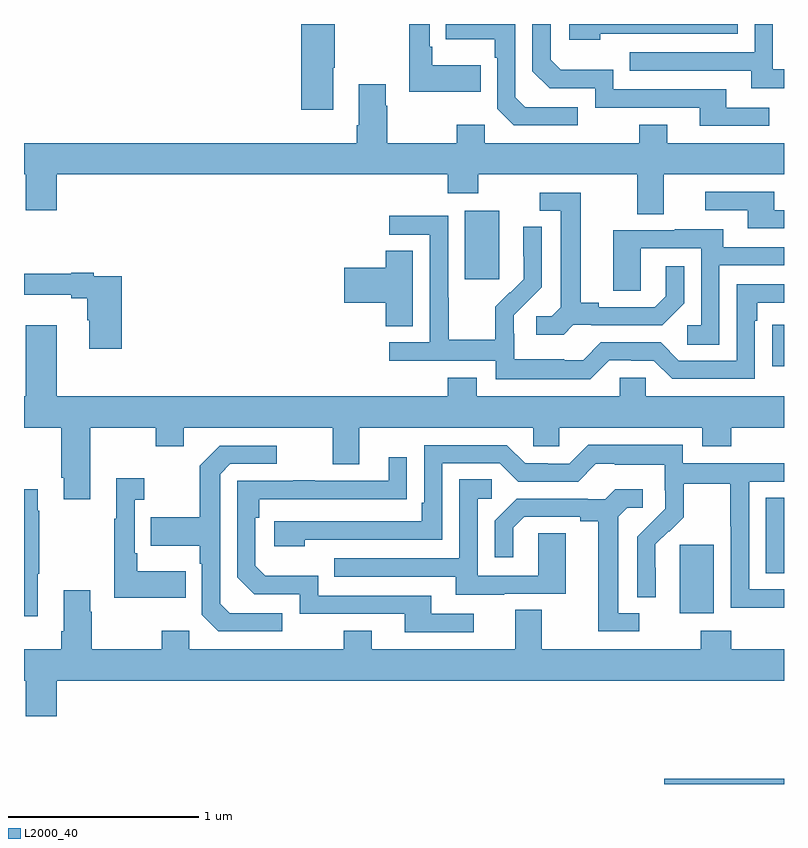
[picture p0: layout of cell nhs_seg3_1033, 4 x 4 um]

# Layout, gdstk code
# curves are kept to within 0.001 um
import gdstk
lib = gdstk.Library(unit=1e-6, precision=1e-09)
def R(c, l, rs):  # rectangles x0, y0, x1, y1
    for r in rs: c.add(gdstk.rectangle(r[:2], r[2:], *l))
def P(c, l, *ps):  # polygons
    for p in ps: c.add(gdstk.Polygon(p, *l))
L2000_40 = (2000, 40)

nhs_seg3_1033 = lib.new_cell('nhs_seg3_1033')
R(nhs_seg3_1033, L2000_40, [(168.371,672.4,169,672.428), (168.452,673.298,168.631,673.659), (168.905,673.51,169,673.907), (168.937,674.598,169,674.816), (167.321,675.057,167.5,675.418)])
P(nhs_seg3_1033, L2000_40, [(166.627,676.171),(166.635,676.171),(166.635,676.4),(166.46,676.4),(166.46,675.948),(166.627,675.948)],
  [(169,676.161),(168.942,676.161),(168.942,676.4),(168.846,676.4),(168.846,676.251),(168.187,676.251),(168.187,676.155),(168.827,676.155),(168.827,676.061),(169,676.061)],
  [(167.405,676.183),(167.149,676.183),(167.149,676.279),(167.136,676.279),(167.136,676.4),(167.028,676.4),(167.028,676.043),(167.405,676.043)],
  [(168.922,675.96),(168.697,675.96),(168.697,676.056),(168.102,676.056),(168.102,676.159),(167.825,676.159),(167.772,676.212),(167.772,676.4),(167.676,676.4),(167.676,676.152),(167.766,676.062),(168.006,676.062),(168.006,675.96),(168.557,675.96),(168.557,675.864),(168.922,675.864)],
  [(167.914,675.963),(167.637,675.963),(167.586,676.014),(167.586,676.4),(167.221,676.4),(167.221,676.319),(167.478,676.319),(167.478,676.223),(167.49,676.223),(167.49,675.954),(167.577,675.867),(167.914,675.867)],
  [(168.032,676.35),(168.756,676.35),(168.756,676.4),(167.871,676.4),(167.871,676.316),(168.032,676.316)],
  [(168.367,675.608),(169,675.608),(169,675.772),(168.385,675.772),(168.385,675.871),(168.238,675.871),(168.238,675.772),(167.424,675.772),(167.424,675.871),(167.278,675.871),(167.278,675.772),(166.911,675.772),(166.911,675.971),(166.903,675.971),(166.903,676.084),(166.763,676.084),(166.763,675.868),(166.751,675.868),(166.751,675.772),(165,675.772),(165,675.608),(165.008,675.608),(165.008,675.42),(165.172,675.42),(165.172,675.608),(167.231,675.608),(167.231,675.509),(167.391,675.509),(167.391,675.608),(168.227,675.608),(168.227,675.4),(168.367,675.4)],
  [(169,675.42),(168.949,675.42),(168.949,675.516),(168.585,675.516),(168.585,675.42),(168.809,675.42),(168.809,675.324),(169,675.324)],
  [(167.892,674.817),(167.986,674.817),(167.986,674.814),(168.358,674.814),(168.474,674.93),(168.474,675.124),(168.377,675.124),(168.377,674.967),(168.32,674.91),(168.025,674.91),(168.025,674.933),(167.929,674.933),(167.929,675.513),(167.715,675.513),(167.715,675.417),(167.825,675.417),(167.825,674.909),(167.778,674.862),(167.697,674.862),(167.697,674.765),(167.84,674.765)],
  [(168.081,674.631),(168.197,674.631),(168.197,674.628),(168.315,674.628),(168.411,674.532),(168.846,674.532),(168.846,674.837),(168.859,674.837),(168.859,674.934),(169,674.934),(169,675.03),(168.75,675.03),(168.75,674.628),(168.447,674.628),(168.351,674.724),(168.036,674.724),(167.943,674.631),(167.843,674.631),(167.843,674.635),(167.58,674.635),(167.58,674.769),(167.578,674.769),(167.578,674.866),(167.724,675.014),(167.724,675.332),(167.628,675.332),(167.628,675.178),(167.63,675.178),(167.63,675.056),(167.559,674.985),(167.556,674.988),(167.479,674.911),(167.479,674.737),(167.235,674.737),(167.235,674.96),(167.232,674.96),(167.232,675.39),(166.923,675.39),(166.923,675.291),(167.136,675.291),(167.136,674.724),(166.923,674.724),(166.923,674.628),(167.484,674.628),(167.484,674.531),(167.981,674.531)],
  [(168.66,675.129),(169,675.129),(169,675.225),(168.679,675.225),(168.679,675.319),(168.425,675.319),(168.425,675.315),(168.101,675.315),(168.101,674.995),(168.246,674.995),(168.246,675.219),(168.564,675.219),(168.564,674.814),(168.492,674.814),(168.492,674.713),(168.66,674.713)],
  [(167.047,675.206),(166.904,675.206),(166.904,675.116),(166.686,675.116),(166.686,674.933),(166.904,674.933),(166.904,674.809),(167.047,674.809)],
  [(165.515,675.072),(165.368,675.072),(165.368,675.092),(165.248,675.092),(165.248,675.085),(165,675.085),(165,674.975),(165.248,674.975),(165.248,674.956),(165.332,674.956),(165.332,674.841),(165.344,674.841),(165.344,674.691),(165.515,674.691)],
  [(165.349,674.276),(165.694,674.276),(165.694,674.177),(165.841,674.177),(165.841,674.276),(166.625,674.276),(166.625,674.082),(166.765,674.082),(166.765,674.276),(167.679,674.276),(167.679,674.178),(167.817,674.178),(167.817,674.276),(168.569,674.276),(168.569,674.177),(168.722,674.177),(168.722,674.276),(169,674.276),(169,674.44),(168.273,674.44),(168.273,674.538),(168.135,674.538),(168.135,674.44),(167.383,674.44),(167.383,674.539),(167.231,674.539),(167.231,674.44),(165.172,674.44),(165.172,674.815),(165.008,674.815),(165.008,674.44),(165,674.44),(165,674.276),(165.197,674.276),(165.197,674.011),(165.209,674.011),(165.209,673.899),(165.349,673.899)],
  [(169,673.425),(168.816,673.425),(168.816,673.992),(169,673.992),(169,674.088),(168.468,674.088),(168.468,674.185),(167.971,674.185),(167.871,674.085),(167.756,674.085),(167.756,674.088),(167.637,674.088),(167.541,674.184),(167.106,674.184),(167.106,673.879),(167.093,673.879),(167.093,673.782),(166.317,673.782),(166.317,673.652),(166.478,673.652),(166.478,673.686),(167.202,673.686),(167.202,674.088),(167.505,674.088),(167.601,673.992),(167.916,673.992),(168.009,674.085),(168.109,674.085),(168.109,674.081),(168.372,674.081),(168.372,673.947),(168.374,673.947),(168.374,673.85),(168.228,673.702),(168.228,673.384),(168.324,673.384),(168.323,673.661),(168.393,673.731),(168.396,673.728),(168.473,673.805),(168.473,673.98),(168.718,673.98),(168.718,673.756),(168.72,673.756),(168.72,673.327),(169,673.327)],
  [(166.36,673.299),(166.083,673.299),(166.032,673.35),(166.032,674.031),(166.086,674.085),(166.33,674.085),(166.33,674.181),(166.029,674.181),(165.924,674.075),(165.924,673.803),(165.667,673.803),(165.667,673.655),(165.924,673.655),(165.924,673.559),(165.936,673.559),(165.936,673.29),(166.023,673.203),(166.36,673.203)],
  [(167.368,673.296),(167.143,673.296),(167.143,673.392),(166.548,673.392),(166.548,673.495),(166.271,673.495),(166.218,673.548),(166.218,673.802),(166.238,673.802),(166.238,673.899),(167.015,673.9),(167.015,674.119),(166.919,674.119),(166.919,673.995),(166.529,673.995),(166.529,674),(166.417,674),(166.417,673.995),(166.122,673.995),(166.122,673.488),(166.212,673.398),(166.452,673.398),(166.452,673.296),(167.003,673.296),(167.003,673.2),(167.368,673.2)],
  [(165.851,673.519),(165.595,673.519),(165.595,673.615),(165.582,673.615),(165.582,673.895),(165.634,673.895),(165.634,674.008),(165.485,674.008),(165.485,673.795),(165.474,673.795),(165.474,673.379),(165.851,673.379)],
  [(167.527,673.401),(167.851,673.401),(167.851,673.721),(167.706,673.721),(167.706,673.497),(167.388,673.497),(167.388,673.902),(167.461,673.902),(167.461,674.003),(167.292,674.003),(167.292,673.587),(166.633,673.587),(166.633,673.491),(167.273,673.491),(167.273,673.397),(167.527,673.397)],
  [(168.238,673.299),(168.127,673.299),(168.127,673.807),(168.174,673.854),(168.256,673.854),(168.256,673.951),(168.112,673.951),(168.06,673.899),(167.966,673.899),(167.966,673.902),(167.594,673.902),(167.478,673.786),(167.478,673.593),(167.575,673.593),(167.575,673.749),(167.632,673.806),(167.927,673.806),(167.927,673.784),(168.023,673.784),(168.023,673.203),(168.238,673.203)],
  [(165.073,673.507),(165.081,673.507),(165.081,673.838),(165.073,673.838),(165.073,673.951),(165,673.951),(165,673.284),(165.073,673.284)],
  [(165.172,672.944),(169,672.944),(169,673.108),(168.722,673.108),(168.722,673.207),(168.562,673.207),(168.562,673.108),(167.725,673.108),(167.725,673.316),(167.585,673.316),(167.585,673.108),(166.831,673.108),(166.831,673.207),(166.684,673.207),(166.684,673.108),(165.87,673.108),(165.87,673.207),(165.724,673.207),(165.724,673.108),(165.357,673.108),(165.357,673.307),(165.349,673.307),(165.349,673.42),(165.209,673.42),(165.209,673.204),(165.197,673.204),(165.197,673.108),(165,673.108),(165,672.944),(165.008,672.944),(165.008,672.756),(165.172,672.756)])

lib.write_gds('nhs_seg3_1033.gds')
